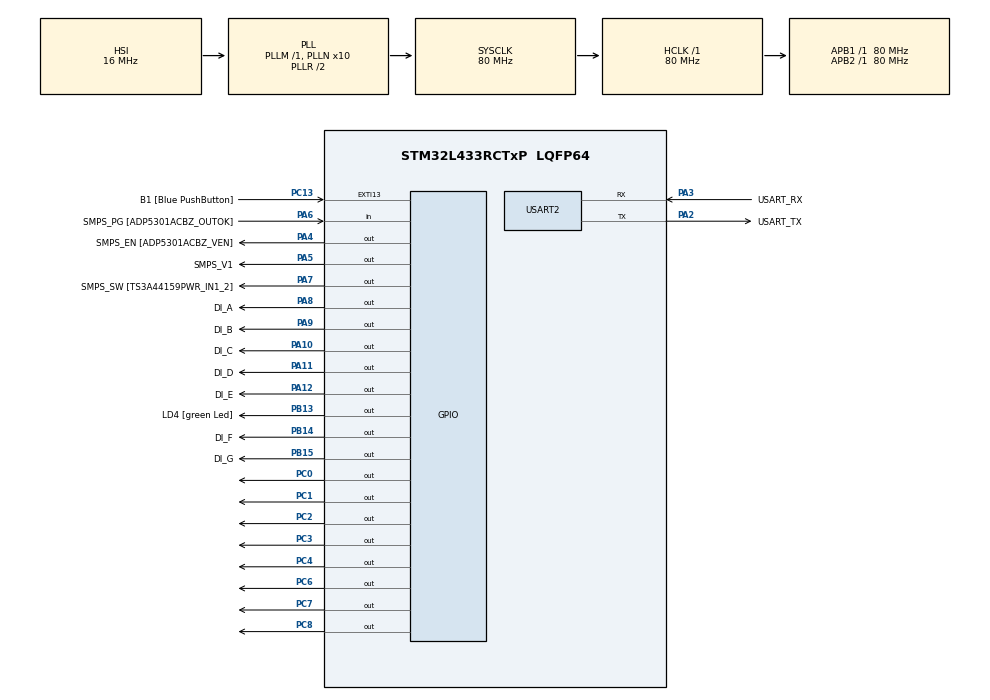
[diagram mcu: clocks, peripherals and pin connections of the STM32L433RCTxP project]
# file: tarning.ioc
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Mcu.Family=STM32L4
Mcu.Name=STM32L433RCTxP
Mcu.Package=LQFP64
NVIC.PriorityGroup=NVIC_PRIORITYGROUP_4
PA10.GPIO_Label=DI_C
PA10.Signal=GPIO_Output
PA11.GPIO_Label=DI_D
PA11.Signal=GPIO_Output
PA12.GPIO_Label=DI_E
PA12.Signal=GPIO_Output
PA13\ (JTMS-SWDIO).GPIO_Label=TMS
PA13\ (JTMS-SWDIO).Mode=Serial_Wire
PA13\ (JTMS-SWDIO).Signal=SYS_JTMS-SWDIO
PA14\ (JTCK-SWCLK).GPIO_Label=TCK
PA14\ (JTCK-SWCLK).Mode=Serial_Wire
PA14\ (JTCK-SWCLK).Signal=SYS_JTCK-SWCLK
PA2.GPIO_Label=USART_TX
PA2.GPIO_Mode=GPIO_MODE_AF_PP
PA2.GPIO_PuPd=GPIO_NOPULL
PA2.GPIO_Speed=GPIO_SPEED_FREQ_VERY_HIGH
PA2.Mode=Asynchronous
PA2.Signal=USART2_TX
PA3.GPIO_Label=USART_RX
PA3.GPIO_Mode=GPIO_MODE_AF_PP
PA3.GPIO_PuPd=GPIO_NOPULL
PA3.GPIO_Speed=GPIO_SPEED_FREQ_VERY_HIGH
PA3.Mode=Asynchronous
PA3.Signal=USART2_RX
PA4.GPIO_Label=SMPS_EN [ADP5301ACBZ_VEN]
PA4.Signal=GPIO_Output
PA5.GPIO_Label=SMPS_V1
PA5.GPIO_ModeDefaultOutputPP=GPIO_MODE_OUTPUT_PP
PA5.GPIO_PuPd=GPIO_NOPULL
PA5.GPIO_Speed=GPIO_SPEED_FREQ_LOW
PA5.Signal=GPIO_Output
PA6.GPIO_Label=SMPS_PG [ADP5301ACBZ_OUTOK]
PA6.GPIO_PuPd=GPIO_PULLUP
PA6.Signal=GPIO_Input
PA7.GPIO_Label=SMPS_SW [TS3A44159PWR_IN1_2]
PA7.Signal=GPIO_Output
PA8.GPIO_Label=DI_A
PA8.Signal=GPIO_Output
PA9.GPIO_Label=DI_B
PA9.Signal=GPIO_Output
PB13.GPIO_Label=LD4 [green Led]
PB13.Signal=GPIO_Output
PB14.GPIO_Label=DI_F
PB14.Signal=GPIO_Output
PB15.GPIO_Label=DI_G
PB15.Signal=GPIO_Output
PB3\ (JTDO-TRACESWO).GPIO_Label=SWO
PB3\ (JTDO-TRACESWO).Signal=SYS_JTDO-SWO
PC0.Signal=GPIO_Output
PC1.Signal=GPIO_Output
PC13.GPIO_Label=B1 [Blue PushButton]
PC13.GPIO_ModeDefaultEXTI=GPIO_MODE_IT_FALLING
PC13.GPIO_PuPd=GPIO_NOPULL
PC13.Signal=GPXTI13
PC14-OSC32_IN\ (PC14).Mode=LSE-External-Oscillator
PC14-OSC32_IN\ (PC14).Signal=RCC_OSC32_IN
PC15-OSC32_OUT\ (PC15).Mode=LSE-External-Oscillator
PC15-OSC32_OUT\ (PC15).Signal=RCC_OSC32_OUT
PC2.Signal=GPIO_Output
PC3.Signal=GPIO_Output
PC4.Signal=GPIO_Output
PC6.Signal=GPIO_Output
PC7.Signal=GPIO_Output
PC8.Signal=GPIO_Output
PH0-OSC_IN\ (PH0).GPIO_Label=MCO
PH0-OSC_IN\ (PH0).Mode=HSE-External-Clock-Source
PH0-OSC_IN\ (PH0).Signal=RCC_OSC_IN
PH1-OSC_OUT\ (PH1).Signal=RCC_OSC_OUT
ProjectManager.HeapSize=0x200
ProjectManager.StackSize=0x400
ProjectManager.TargetToolchain=STM32CubeIDE
RCC.ADCFreq_Value=64000000
RCC.AHBFreq_Value=80000000
RCC.APB1Freq_Value=80000000
RCC.APB1TimFreq_Value=80000000
RCC.APB2Freq_Value=80000000
RCC.APB2TimFreq_Value=80000000
RCC.CortexFreq_Value=80000000
RCC.HCLKFreq_Value=80000000
RCC.HSE_VALUE=8000000
RCC.HSI48_VALUE=48000000
RCC.HSI_VALUE=16000000
RCC.MSI_VALUE=4000000
RCC.PLLN=10
RCC.PLLSourceVirtual=RCC_PLLSOURCE_HSI
RCC.PREFETCH_ENABLE=1
RCC.SYSCLKFreq_VALUE=80000000
RCC.SYSCLKSource=RCC_SYSCLKSOURCE_PLLCLK
RCC.USBFreq_Value=64000000
RCC.VCOOutputFreq_Value=160000000
USART2.VirtualMode-Asynchronous=VM_ASYNC
board=NUCLEO-L433RC-P

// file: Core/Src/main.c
/* USER CODE BEGIN Header */
/**
  ******************************************************************************
  * @file           : main.c
  * @brief          : Main program body
  ******************************************************************************
  * @attention
  *
  * Copyright (c) 2026 STMicroelectronics.
  * All rights reserved.
  *
  * This software is licensed under terms that can be found in the LICENSE file
  * in the root directory of this software component.
  * If no LICENSE file comes with this software, it is provided AS-IS.
  *
  ******************************************************************************
  */
/* USER CODE END Header */
#include "main.h"

UART_HandleTypeDef huart2;

void SystemClock_Config(void);
static void MX_GPIO_Init(void);
static void MX_USART2_UART_Init(void);

/* USER CODE BEGIN 0 */
int is_button_pressed(void)
{
	uint32_t reg_reading = GPIOC -> IDR;
	uint32_t button_mask = 0x01 << 13;

	return reg_reading & button_mask;
}

void put_die_dots(uint8_t die_nbr)
{
	switch(die_nbr)
	{
	   case 1:
		   HAL_GPIO_WritePin(DI_A_GPIO_Port, DI_A_Pin, GPIO_PIN_RESET);
		   HAL_GPIO_WritePin(DI_B_GPIO_Port, DI_B_Pin, GPIO_PIN_RESET);
		   HAL_GPIO_WritePin(DI_C_GPIO_Port, DI_C_Pin, GPIO_PIN_RESET);
		   HAL_GPIO_WritePin(DI_D_GPIO_Port, DI_D_Pin, GPIO_PIN_SET);
		   HAL_GPIO_WritePin(DI_E_GPIO_Port, DI_E_Pin, GPIO_PIN_RESET);
		   HAL_GPIO_WritePin(DI_F_GPIO_Port, DI_F_Pin, GPIO_PIN_RESET);
		   HAL_GPIO_WritePin(DI_G_GPIO_Port, DI_G_Pin, GPIO_PIN_RESET);
		   break;

	   case 2:
	   	   HAL_GPIO_WritePin(DI_A_GPIO_Port, DI_A_Pin, GPIO_PIN_RESET);
	   	   HAL_GPIO_WritePin(DI_B_GPIO_Port, DI_B_Pin, GPIO_PIN_SET);
	   	   HAL_GPIO_WritePin(DI_C_GPIO_Port, DI_C_Pin, GPIO_PIN_RESET);
	  	   HAL_GPIO_WritePin(DI_D_GPIO_Port, DI_D_Pin, GPIO_PIN_RESET);
	   	   HAL_GPIO_WritePin(DI_E_GPIO_Port, DI_E_Pin, GPIO_PIN_RESET);
	   	   HAL_GPIO_WritePin(DI_F_GPIO_Port, DI_F_Pin, GPIO_PIN_SET);
	   	   HAL_GPIO_WritePin(DI_G_GPIO_Port, DI_G_Pin, GPIO_PIN_RESET);
	 	   break;

	   case 3:
	   	   HAL_GPIO_WritePin(DI_A_GPIO_Port, DI_A_Pin, GPIO_PIN_RESET);
	   	   HAL_GPIO_WritePin(DI_B_GPIO_Port, DI_B_Pin, GPIO_PIN_SET);
	   	   HAL_GPIO_WritePin(DI_C_GPIO_Port, DI_C_Pin, GPIO_PIN_RESET);
	  	   HAL_GPIO_WritePin(DI_D_GPIO_Port, DI_D_Pin, GPIO_PIN_SET);
	   	   HAL_GPIO_WritePin(DI_E_GPIO_Port, DI_E_Pin, GPIO_PIN_RESET);
	   	   HAL_GPIO_WritePin(DI_F_GPIO_Port, DI_F_Pin, GPIO_PIN_SET);
	   	   HAL_GPIO_WritePin(DI_G_GPIO_Port, DI_G_Pin, GPIO_PIN_RESET);
	   	   break;

	   case 4:
	   	   HAL_GPIO_WritePin(DI_A_GPIO_Port, DI_A_Pin, GPIO_PIN_SET);
	   	   HAL_GPIO_WritePin(DI_B_GPIO_Port, DI_B_Pin, GPIO_PIN_SET);
	   	   HAL_GPIO_WritePin(DI_C_GPIO_Port, DI_C_Pin, GPIO_PIN_RESET);
	   	   HAL_GPIO_WritePin(DI_D_GPIO_Port, DI_D_Pin, GPIO_PIN_RESET);
	   	   HAL_GPIO_WritePin(DI_E_GPIO_Port, DI_E_Pin, GPIO_PIN_RESET);
	   	   HAL_GPIO_WritePin(DI_F_GPIO_Port, DI_F_Pin, GPIO_PIN_SET);
	   	   HAL_GPIO_WritePin(DI_G_GPIO_Port, DI_G_Pin, GPIO_PIN_SET);
	   	   break;

	   case 5:
	   	   HAL_GPIO_WritePin(DI_A_GPIO_Port, DI_A_Pin, GPIO_PIN_SET);
	   	   HAL_GPIO_WritePin(DI_B_GPIO_Port, DI_B_Pin, GPIO_PIN_SET);
	   	   HAL_GPIO_WritePin(DI_C_GPIO_Port, DI_C_Pin, GPIO_PIN_RESET);
	   	   HAL_GPIO_WritePin(DI_D_GPIO_Port, DI_D_Pin, GPIO_PIN_SET);
	   	   HAL_GPIO_WritePin(DI_E_GPIO_Port, DI_E_Pin, GPIO_PIN_RESET);
	   	   HAL_GPIO_WritePin(DI_F_GPIO_Port, DI_F_Pin, GPIO_PIN_SET);
	   	   HAL_GPIO_WritePin(DI_G_GPIO_Port, DI_G_Pin, GPIO_PIN_SET);
	   	   break;

	   case 6:
	   	   HAL_GPIO_WritePin(DI_A_GPIO_Port, DI_A_Pin, GPIO_PIN_SET);
	   	   HAL_GPIO_WritePin(DI_B_GPIO_Port, DI_B_Pin, GPIO_PIN_SET);
	   	   HAL_GPIO_WritePin(DI_C_GPIO_Port, DI_C_Pin, GPIO_PIN_SET);
	   	   HAL_GPIO_WritePin(DI_D_GPIO_Port, DI_D_Pin, GPIO_PIN_RESET);
	   	   HAL_GPIO_WritePin(DI_E_GPIO_Port, DI_E_Pin, GPIO_PIN_SET);
	   	   HAL_GPIO_WritePin(DI_F_GPIO_Port, DI_F_Pin, GPIO_PIN_SET);
	   	   HAL_GPIO_WritePin(DI_G_GPIO_Port, DI_G_Pin, GPIO_PIN_SET);
	   	   break;

	   default:
	   	   HAL_GPIO_WritePin(DI_A_GPIO_Port, DI_A_Pin, GPIO_PIN_SET);
	   	   HAL_GPIO_WritePin(DI_B_GPIO_Port, DI_B_Pin, GPIO_PIN_SET);
	   	   HAL_GPIO_WritePin(DI_C_GPIO_Port, DI_C_Pin, GPIO_PIN_SET);
	   	   HAL_GPIO_WritePin(DI_D_GPIO_Port, DI_D_Pin, GPIO_PIN_SET);
	   	   HAL_GPIO_WritePin(DI_E_GPIO_Port, DI_E_Pin, GPIO_PIN_SET);
	   	   HAL_GPIO_WritePin(DI_F_GPIO_Port, DI_F_Pin, GPIO_PIN_SET);
	   	   HAL_GPIO_WritePin(DI_G_GPIO_Port, DI_G_Pin, GPIO_PIN_SET);
	   	   break;
	}
}

const uint16_t sseg[10] = {
		0x05F, //0
		0x006, //1
		0x09B, //2
		0x08F, //3
		0x0C6, //4
		0x0CD, //5
		0x0DD, //6
		0x007, //7
		0x0DF, //8
		0x0CF //9
};

const uint16_t sseg_err = 0x1AC;

void put_on_sseg(uint8_t dec_nbr)
{
	if(dec_nbr <= 9)
	{
		GPIOC->ODR = sseg[dec_nbr];
	}
	else
	{
		GPIOC->ODR = sseg_err;
	}
}

/* USER CODE END 0 */

int main(void)
{

  /* MCU Configuration--------------------------------------------------------*/

  /* Reset of all peripherals, Initializes the Flash interface and the Systick. */
  HAL_Init();

  /* Configure the system clock */
  SystemClock_Config();

  /* Initialize all configured peripherals */
  MX_GPIO_Init();
  MX_USART2_UART_Init();
  /* USER CODE BEGIN 2 */

  for(uint8_t i=1; i <= 6; i++)
  {
	  put_die_dots(i);
	  HAL_Delay(500);
  }

  put_die_dots(8);
  HAL_Delay(1000);

  for(uint8_t i=0; i<=9; i++)
  {
	  put_on_sseg(i);
	  HAL_Delay(333);
  }

  put_on_sseg(88);

  /* USER CODE END 2 */

  /* Infinite loop */
  /* USER CODE BEGIN WHILE */
  int pressed = 0;
  uint8_t die_value = 1;
  while (1)
  {
	  pressed = is_button_pressed();
	  if(pressed)
	  {
		  HAL_GPIO_WritePin(LD4_GPIO_Port, LD4_Pin, GPIO_PIN_SET);

		  die_value++;
		  if(die_value > 6)
		  {
			  die_value = 1;
		  }
	  }
	  else
	  {
		  GPIO_TypeDef* ld_gpio = GPIOB;
		  uint16_t ld_pin_nbr = 13;
		  uint16_t ld_pin = 0x01 << ld_pin_nbr;
		  HAL_GPIO_WritePin(ld_gpio, ld_pin, GPIO_PIN_RESET);
	  }
    /* USER CODE END WHILE */

    /* USER CODE BEGIN 3 */
	  put_die_dots(die_value);
	  put_on_sseg(die_value);

	  HAL_Delay(1);

  }
  /* USER CODE END 3 */
}

void SystemClock_Config(void)
{
  RCC_OscInitTypeDef RCC_OscInitStruct = {0};
  RCC_ClkInitTypeDef RCC_ClkInitStruct = {0};

  /** Configure the main internal regulator output voltage
  */
  if (HAL_PWREx_ControlVoltageScaling(PWR_REGULATOR_VOLTAGE_SCALE1) != HAL_OK)
  {
    Error_Handler();
  }

  /** Initializes the RCC Oscillators according to the specified parameters
  * in the RCC_OscInitTypeDef structure.
  */
  RCC_OscInitStruct.OscillatorType = RCC_OSCILLATORTYPE_HSI;
  RCC_OscInitStruct.HSIState = RCC_HSI_ON;
  RCC_OscInitStruct.HSICalibrationValue = RCC_HSICALIBRATION_DEFAULT;
  RCC_OscInitStruct.PLL.PLLState = RCC_PLL_ON;
  RCC_OscInitStruct.PLL.PLLSource = RCC_PLLSOURCE_HSI;
  RCC_OscInitStruct.PLL.PLLM = 1;
  RCC_OscInitStruct.PLL.PLLN = 10;
  RCC_OscInitStruct.PLL.PLLP = RCC_PLLP_DIV7;
  RCC_OscInitStruct.PLL.PLLQ = RCC_PLLQ_DIV2;
  RCC_OscInitStruct.PLL.PLLR = RCC_PLLR_DIV2;
  if (HAL_RCC_OscConfig(&RCC_OscInitStruct) != HAL_OK)
  {
    Error_Handler();
  }

  /** Initializes the CPU, AHB and APB buses clocks
  */
  RCC_ClkInitStruct.ClockType = RCC_CLOCKTYPE_HCLK|RCC_CLOCKTYPE_SYSCLK
                              |RCC_CLOCKTYPE_PCLK1|RCC_CLOCKTYPE_PCLK2;
  RCC_ClkInitStruct.SYSCLKSource = RCC_SYSCLKSOURCE_PLLCLK;
  RCC_ClkInitStruct.AHBCLKDivider = RCC_SYSCLK_DIV1;
  RCC_ClkInitStruct.APB1CLKDivider = RCC_HCLK_DIV1;
  RCC_ClkInitStruct.APB2CLKDivider = RCC_HCLK_DIV1;

  if (HAL_RCC_ClockConfig(&RCC_ClkInitStruct, FLASH_LATENCY_4) != HAL_OK)
  {
    Error_Handler();
  }
}

static void MX_USART2_UART_Init(void)
{

  huart2.Instance = USART2;
  huart2.Init.BaudRate = 115200;
  huart2.Init.WordLength = UART_WORDLENGTH_8B;
  huart2.Init.StopBits = UART_STOPBITS_1;
  huart2.Init.Parity = UART_PARITY_NONE;
  huart2.Init.Mode = UART_MODE_TX_RX;
  huart2.Init.HwFlowCtl = UART_HWCONTROL_NONE;
  huart2.Init.OverSampling = UART_OVERSAMPLING_16;
  huart2.Init.OneBitSampling = UART_ONE_BIT_SAMPLE_DISABLE;
  huart2.AdvancedInit.AdvFeatureInit = UART_ADVFEATURE_NO_INIT;
  if (HAL_UART_Init(&huart2) != HAL_OK)
  {
    Error_Handler();
  }

}

static void MX_GPIO_Init(void)
{
  GPIO_InitTypeDef GPIO_InitStruct = {0};

  /* GPIO Ports Clock Enable */
  __HAL_RCC_GPIOC_CLK_ENABLE();
  __HAL_RCC_GPIOH_CLK_ENABLE();
  __HAL_RCC_GPIOA_CLK_ENABLE();
  __HAL_RCC_GPIOB_CLK_ENABLE();

  /*Configure GPIO pin Output Level */
  HAL_GPIO_WritePin(GPIOC, GPIO_PIN_0|GPIO_PIN_1|GPIO_PIN_2|GPIO_PIN_3
                          |GPIO_PIN_4|GPIO_PIN_6|GPIO_PIN_7|GPIO_PIN_8, GPIO_PIN_RESET);

  /*Configure GPIO pin Output Level */
  HAL_GPIO_WritePin(GPIOA, SMPS_EN_Pin|SMPS_V1_Pin|SMPS_SW_Pin|DI_A_Pin
                          |DI_B_Pin|DI_C_Pin|DI_D_Pin|DI_E_Pin, GPIO_PIN_RESET);

  /*Configure GPIO pin Output Level */
  HAL_GPIO_WritePin(GPIOB, LD4_Pin|DI_F_Pin|DI_G_Pin, GPIO_PIN_RESET);

  /*Configure GPIO pin : B1_Pin */
  GPIO_InitStruct.Pin = B1_Pin;
  GPIO_InitStruct.Mode = GPIO_MODE_IT_FALLING;
  GPIO_InitStruct.Pull = GPIO_NOPULL;
  HAL_GPIO_Init(B1_GPIO_Port, &GPIO_InitStruct);

  /*Configure GPIO pins : PC0 PC1 PC2 PC3
                           PC4 PC6 PC7 PC8 */
  GPIO_InitStruct.Pin = GPIO_PIN_0|GPIO_PIN_1|GPIO_PIN_2|GPIO_PIN_3
                          |GPIO_PIN_4|GPIO_PIN_6|GPIO_PIN_7|GPIO_PIN_8;
  GPIO_InitStruct.Mode = GPIO_MODE_OUTPUT_PP;
  GPIO_InitStruct.Pull = GPIO_NOPULL;
  GPIO_InitStruct.Speed = GPIO_SPEED_FREQ_LOW;
  HAL_GPIO_Init(GPIOC, &GPIO_InitStruct);

  /*Configure GPIO pins : SMPS_EN_Pin SMPS_V1_Pin SMPS_SW_Pin DI_A_Pin
                           DI_B_Pin DI_C_Pin DI_D_Pin DI_E_Pin */
  GPIO_InitStruct.Pin = SMPS_EN_Pin|SMPS_V1_Pin|SMPS_SW_Pin|DI_A_Pin
                          |DI_B_Pin|DI_C_Pin|DI_D_Pin|DI_E_Pin;
  GPIO_InitStruct.Mode = GPIO_MODE_OUTPUT_PP;
  GPIO_InitStruct.Pull = GPIO_NOPULL;
  GPIO_InitStruct.Speed = GPIO_SPEED_FREQ_LOW;
  HAL_GPIO_Init(GPIOA, &GPIO_InitStruct);

  /*Configure GPIO pin : SMPS_PG_Pin */
  GPIO_InitStruct.Pin = SMPS_PG_Pin;
  GPIO_InitStruct.Mode = GPIO_MODE_INPUT;
  GPIO_InitStruct.Pull = GPIO_PULLUP;
  HAL_GPIO_Init(SMPS_PG_GPIO_Port, &GPIO_InitStruct);

  /*Configure GPIO pins : LD4_Pin DI_F_Pin DI_G_Pin */
  GPIO_InitStruct.Pin = LD4_Pin|DI_F_Pin|DI_G_Pin;
  GPIO_InitStruct.Mode = GPIO_MODE_OUTPUT_PP;
  GPIO_InitStruct.Pull = GPIO_NOPULL;
  GPIO_InitStruct.Speed = GPIO_SPEED_FREQ_LOW;
  HAL_GPIO_Init(GPIOB, &GPIO_InitStruct);

}

void Error_Handler(void)
{
  __disable_irq();
  while (1)
  {
  }
}
